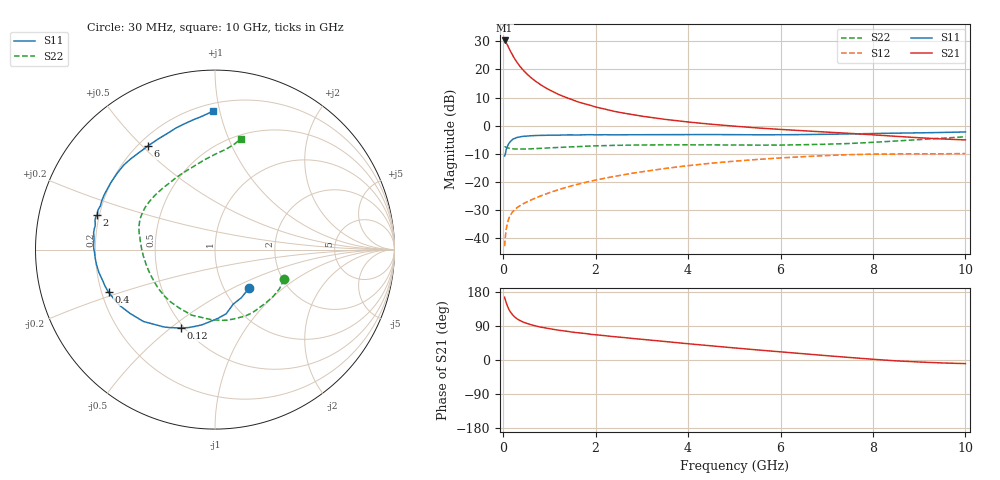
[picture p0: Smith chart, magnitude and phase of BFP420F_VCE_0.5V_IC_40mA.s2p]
! Infineon Technologies  Discrete & RF Semiconductors
! BFP420F
! VCE =  0.5 V,  IC =  40 mA
! Common Emitter S-Parameters:  Sep 2011
# GHz  S  MA  R  50
!  f  S11  S21  S12  S22
! GHz  MAG  ANG  MAG  ANG  MAG  ANG  MAG  ANG
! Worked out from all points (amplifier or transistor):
!   54 points, 30 MHz to 10 GHz, reference 50 ohm
!   highest |S21| = 30.4 dB at 30 MHz (marker M1)
!   |S21| within 3 dB of that: start of sweep to 131 MHz
!   unconditionally stable (mu >= 1): start of sweep to 56.7 MHz; 647.5 MHz to end of sweep
!   at 120 MHz: K = 0.71, MSG = 30.5 dB, |S12| = -33.2 dB
!   at 1.3 GHz: K = 1.22, MAG = 13.5 dB, |S12| = -22.3 dB
!   at 10 GHz: K = 1.27, MAG = -0.7 dB, |S12| = -10.0 dB
!   S11 on the Smith chart (normalised r, x): 30 MHz: 1.30, -0.61; 120 MHz: 0.48, -0.54; 400 MHz: 0.23, -0.18; 2 GHz: 0.19, +0.14; 6 GHz: 0.24, +0.52; 10 GHz: 0.25, +0.95
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0.03  0.2868 -48.9  32.92 165.8  0.0071 83.0  0.4175 -23.3
0.04  0.3056 -61.3  32.13 161.2  0.0092 79.7  0.4206 -31.3
0.06  0.3628 -80.1  30.39 153.2  0.0133 72.5  0.4098 -46.4
0.07  0.3839 -87.7  29.51 149.5  0.015 69.7  0.4073 -53.0
0.1  0.4432 -104.9  26.4 139.6  0.0193 64.0  0.4019 -70.6
0.12  0.4766 -113.7  24.36 134.2  0.0218 60.9  0.3987 -80.7
0.15  0.5161 -123.3  21.7 127.8  0.0248 57.2  0.3907 -93.3
0.2  0.5653 -134.9  18.19 119.5  0.0289 53.3  0.3876 -109.6
0.25  0.5921 -143.1  15.41 113.4  0.0317 51.2  0.3816 -121.1
0.3  0.6154 -149.6  13.38 108.6  0.0346 49.9  0.3824 -130.3
0.4  0.6389 -158.2  10.43 101.9  0.039 49.4  0.3823 -143.0
0.6  0.6593 -168.9  7.151 93.2  0.0471 50.6  0.386 -158.8
0.9  0.6708 -178.3  4.805 84.9  0.0595 52.9  0.3963 -172.1
1.2  0.6765 175.3  3.589 78.6  0.0722 54.3  0.4089 179.6
1.7  0.683 167.6  2.528 70.9  0.0937 54.6  0.4246 170.1
2  0.6843 163.7  2.143 66.6  0.1068 54.0  0.4358 166.2
3.5  0.69 147.3  1.293 48.8  0.1721 46.7  0.4538 152.9
5.5  0.6865 127.8  0.909 26.6  0.2493 30.8  0.4493 130.9
6  0.6874 122.9  0.855 21.5  0.2655 26.7  0.4498 124.2
7  0.6996 112.2  0.766 11.4  0.2925 18.1  0.4661 110.5
8.5  0.7336 99.4  0.644 -2.2  0.3123 5.4  0.5318 89.8
10  0.7707 90.9  0.556 -9.5  0.3175 -2.1  0.632 77.0
